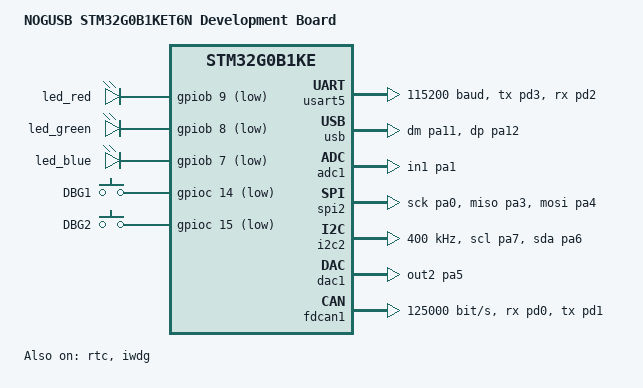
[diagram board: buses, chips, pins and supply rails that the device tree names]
/dts-v1/;
#include <st/g0/stm32g0b1Xe.dtsi>
#include <st/g0/stm32g0b1k(b-c-e)txn-pinctrl.dtsi>

/ {
	model = "NOGUSB STM32G0B1KET6N Development Board";
	compatible = "st,stm32g0b1ke";

	// bare minimum
	chosen {
		zephyr,console = &usart5;
		zephyr,shell-uart = &usart5;
		zephyr,uart-mcumgr = &usart5;
		zephyr,sram = &sram0;
		zephyr,flash = &flash0;
		zephyr,code-partition = &slot0_partition;
	};

	// supported peripherals
	leds {
		compatible = "gpio-leds";
		led_red: led_0 {
			gpios = <&gpiob 9 GPIO_ACTIVE_LOW>;
		};
		led_green: led_1 {
			gpios = <&gpiob 8 GPIO_ACTIVE_LOW>;
		};
		led_blue: led_2 {
			gpios = <&gpiob 7 GPIO_ACTIVE_LOW>;
		};
	};

	buttons {
		compatible = "gpio-keys";
		dbg_1: button_0 {
			gpios = <&gpioc 14 (GPIO_ACTIVE_LOW | GPIO_PULL_UP)>;
			label = "DBG1";
		};
		dbg_2: button_1 {
			gpios = <&gpioc 15 (GPIO_ACTIVE_LOW | GPIO_PULL_UP)>;
			label = "DBG2";
		};
	};

	aliases {
		bootloader-led0 = &led_blue;
		led0 = &led_red;
		led1 = &led_green;
		led2 = &led_blue;
		sw0  = &dbg_1;
		sw1  = &dbg_2;
	};
};

// bare minimum
&clk_hsi {
	status = "okay";
};

&clk_hsi48 {
	status = "okay";
};

&pll { // 64 MHz
	div-m = <1>;
	mul-n = <8>;
	div-p = <2>;
	div-q = <2>;
	div-r = <2>;
	clocks = <&clk_hsi>;
	status = "okay";
};

&rcc {
	clocks = <&pll>;
	clock-frequency = <DT_FREQ_M(64)>;
	ahb-prescaler = <1>;
	apb1-prescaler = <1>;
};

&flash0 {
	partitions {
		compatible = "fixed-partitions";
		#address-cells = <1>;
		#size-cells = <1>;

		boot_partition: partition@0 {
			label = "mcuboot";
			reg = <0x00000000 0x00010000>; // 64KiB
			read-only;
		};
		slot0_partition: partition@10000 {
			label = "image-0";
			reg = <0x00010000 0x00070000>; // 448KiB
		};
	};
};

&usart5 {
	pinctrl-0 = <&usart5_tx_pd3 &usart5_rx_pd2>;
	pinctrl-names = "default";
	current-speed = <115200>;
	status = "okay";
};

// supported peripherals
zephyr_udc0: &usb {
	pinctrl-0 = <&usb_dm_pa11 &usb_dp_pa12>;
	pinctrl-names = "default";
	status = "okay";
};

&adc1 {
	st,adc-clock-source = <SYNC>;
	st,adc-prescaler = <4>;
	pinctrl-0 = <&adc1_in1_pa1>;
	pinctrl-names = "default";
	status = "okay";
};

&spi2 {
	pinctrl-0 = <&spi2_sck_pa0 &spi2_miso_pa3 &spi2_mosi_pa4>;
	pinctrl-names = "default";
	status = "okay";
};

&i2c2 {
	pinctrl-0 = <&i2c2_scl_pa7 &i2c2_sda_pa6>;
	pinctrl-names = "default";
	status = "okay";
	clock-frequency = <I2C_BITRATE_FAST>;
};

&dac1 {
	pinctrl-0 = <&dac1_out2_pa5>;
	pinctrl-names = "default";
	status = "okay";
};

&fdcan1 {
	status = "okay";
	pinctrl-0 = <&fdcan1_rx_pd0 &fdcan1_tx_pd1>;
	pinctrl-names = "default";
	bus-speed = <125000>;
	bus-speed-data = <1000000>;
};

&rtc {
	status = "okay";
};

&iwdg {
	status = "okay";
};
